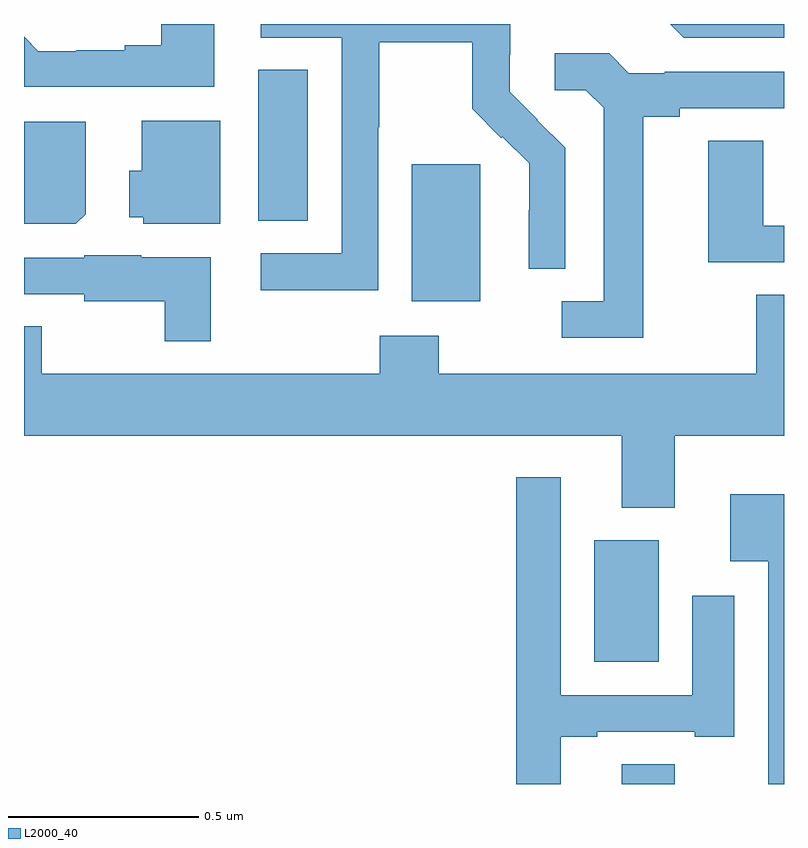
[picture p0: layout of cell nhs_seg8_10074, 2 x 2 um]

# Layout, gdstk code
import gdstk
lib = gdstk.Library(unit=1e-6, precision=1e-09)
def R(c, l, rs):  # rectangles x0, y0, x1, y1
    for r in rs: c.add(gdstk.rectangle(r[:2], r[2:], *l))
def P(c, l, *ps):  # polygons
    for p in ps: c.add(gdstk.Polygon(p, *l))
L2000_40 = (2000, 40)

nhs_seg8_10074 = lib.new_cell('nhs_seg8_10074')
R(nhs_seg8_10074, L2000_40, [(245.573,1132.9,245.713,1132.952), (245.501,1133.222,245.671,1133.542), (245.021,1134.17,245.2,1134.531), (244.616,1134.382,244.747,1134.779)])
P(nhs_seg8_10074, L2000_40, [(244.501,1134.9),(244.361,1134.9),(244.361,1134.844),(244.265,1134.844),(244.265,1134.831),(244.138,1134.831),(244.138,1134.828),(244.038,1134.828),(244,1134.866),(244,1134.735),(244.501,1134.735)],
  [(244.932,1134.628),(244.935,1134.628),(244.935,1134.852),(245.179,1134.852),(245.179,1134.677),(245.256,1134.6),(245.259,1134.603),(245.33,1134.533),(245.33,1134.41),(245.328,1134.41),(245.328,1134.256),(245.424,1134.256),(245.424,1134.574),(245.351,1134.647),(245.352,1134.648),(245.278,1134.722),(245.278,1134.819),(245.28,1134.819),(245.28,1134.9),(244.623,1134.9),(244.623,1134.864),(244.836,1134.864),(244.836,1134.297),(244.623,1134.297),(244.623,1134.199),(244.932,1134.199)],
  [(246,1134.9),(245.7,1134.9),(245.736,1134.864),(246,1134.864)],
  [(245.629,1134.656),(245.725,1134.656),(245.725,1134.678),(246,1134.678),(246,1134.774),(245.686,1134.774),(245.686,1134.771),(245.592,1134.771),(245.54,1134.823),(245.397,1134.823),(245.397,1134.726),(245.478,1134.726),(245.525,1134.679),(245.525,1134.171),(245.415,1134.171),(245.415,1134.075),(245.629,1134.075)],
  [(244.516,1134.646),(244.31,1134.646),(244.31,1134.514),(244.277,1134.514),(244.277,1134.392),(244.314,1134.392),(244.314,1134.374),(244.516,1134.374)],
  [(244.162,1134.4),(244.162,1134.643),(244,1134.643),(244,1134.374),(244.136,1134.374)],
  [(246,1134.369),(245.946,1134.369),(245.946,1134.593),(245.801,1134.593),(245.801,1134.273),(246,1134.273)],
  [(244.492,1134.286),(244.308,1134.286),(244.308,1134.292),(244.158,1134.292),(244.158,1134.285),(244,1134.285),(244,1134.189),(244.158,1134.189),(244.158,1134.17),(244.371,1134.17),(244.371,1134.065),(244.492,1134.065)],
  [(245.713,1133.816),(246,1133.816),(246,1134.188),(245.927,1134.188),(245.927,1133.98),(245.091,1133.98),(245.091,1134.079),(244.936,1134.079),(244.936,1133.98),(244.047,1133.98),(244.047,1134.104),(244,1134.104),(244,1133.816),(245.573,1133.816),(245.573,1133.627),(245.713,1133.627)],
  [(245.413,1133.025),(245.509,1133.025),(245.509,1133.037),(245.765,1133.037),(245.765,1133.025),(245.869,1133.025),(245.869,1133.395),(245.759,1133.395),(245.759,1133.133),(245.412,1133.133),(245.412,1133.707),(245.296,1133.707),(245.296,1132.9),(245.413,1132.9)],
  [(246,1133.662),(245.858,1133.662),(245.858,1133.486),(245.958,1133.486),(245.958,1132.9),(246,1132.9)])

lib.write_gds('nhs_seg8_10074.gds')
